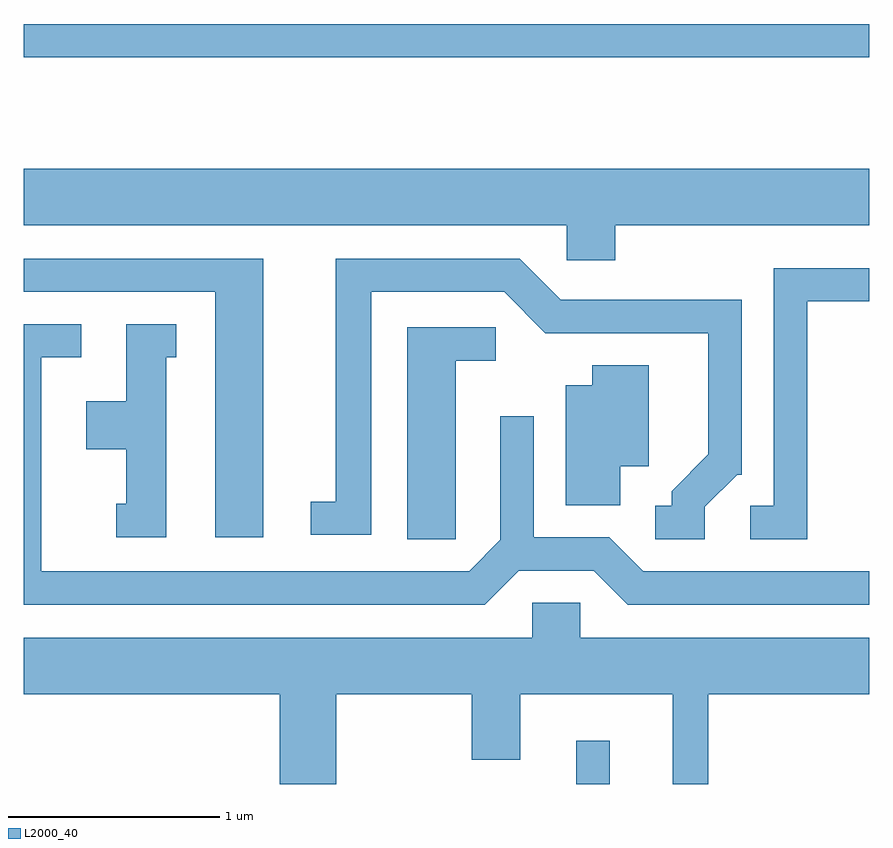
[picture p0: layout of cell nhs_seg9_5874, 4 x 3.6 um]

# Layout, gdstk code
import gdstk
lib = gdstk.Library(unit=1e-6, precision=1e-09)
def R(c, l, rs):  # rectangles x0, y0, x1, y1
    for r in rs: c.add(gdstk.rectangle(r[:2], r[2:], *l))
def P(c, l, *ps):  # polygons
    for p in ps: c.add(gdstk.Polygon(p, *l))
L2000_40 = (2000, 40)

nhs_seg9_5874 = lib.new_cell('nhs_seg9_5874')
R(nhs_seg9_5874, L2000_40, [(360.226,2062.432,360.384,2062.637), (357.611,2065.871,361.611,2066.029)])
P(nhs_seg9_5874, L2000_40, [(360.409,2065.076),(361.611,2065.076),(361.611,2065.344),(357.611,2065.344),(357.611,2065.076),(360.181,2065.076),(360.181,2064.911),(360.409,2064.911)],
  [(358.744,2064.919),(357.611,2064.919),(357.611,2064.761),(358.516,2064.761),(358.516,2063.601),(358.744,2063.601)],
  [(360.834,2063.744),(360.987,2063.896),(361.009,2063.896),(361.009,2064.724),(360.152,2064.724),(359.957,2064.919),(359.086,2064.919),(359.086,2063.769),(358.968,2063.769),(358.968,2063.611),(359.254,2063.611),(359.254,2064.761),(359.884,2064.761),(360.079,2064.566),(360.851,2064.566),(360.851,2063.992),(360.676,2063.817),(360.676,2063.749),(360.598,2063.749),(360.598,2063.591),(360.834,2063.591)],
  [(361.319,2064.716),(361.611,2064.716),(361.611,2064.874),(361.161,2064.874),(361.161,2063.749),(361.048,2063.749),(361.048,2063.591),(361.319,2063.591)],
  [(358.284,2064.451),(358.333,2064.451),(358.333,2064.609),(358.096,2064.609),(358.096,2064.244),(357.906,2064.244),(357.906,2064.016),(358.096,2064.016),(358.096,2063.759),(358.048,2063.759),(358.048,2063.601),(358.284,2063.601)],
  [(359.952,2063.441),(360.309,2063.441),(360.469,2063.281),(361.611,2063.281),(361.611,2063.439),(360.542,2063.439),(360.382,2063.599),(360.024,2063.599),(360.024,2064.173),(359.866,2064.173),(359.866,2063.587),(359.719,2063.439),(357.694,2063.439),(357.694,2064.451),(357.883,2064.451),(357.883,2064.609),(357.611,2064.609),(357.611,2063.281),(359.792,2063.281)],
  [(359.654,2064.436),(359.843,2064.436),(359.843,2064.594),(359.426,2064.594),(359.426,2063.591),(359.654,2063.591)],
  [(360.434,2063.936),(360.569,2063.936),(360.569,2064.414),(360.301,2064.414),(360.301,2064.319),(360.176,2064.319),(360.176,2063.751),(360.434,2063.751)],
  [(359.089,2062.856),(359.731,2062.856),(359.731,2062.546),(359.959,2062.546),(359.959,2062.856),(360.681,2062.856),(360.681,2062.432),(360.849,2062.432),(360.849,2062.856),(361.611,2062.856),(361.611,2063.124),(360.244,2063.124),(360.244,2063.289),(360.016,2063.289),(360.016,2063.124),(357.611,2063.124),(357.611,2062.856),(358.821,2062.856),(358.821,2062.432),(359.089,2062.432)])

lib.write_gds('nhs_seg9_5874.gds')
